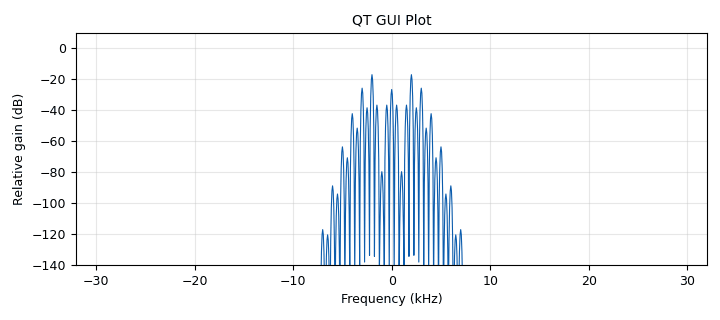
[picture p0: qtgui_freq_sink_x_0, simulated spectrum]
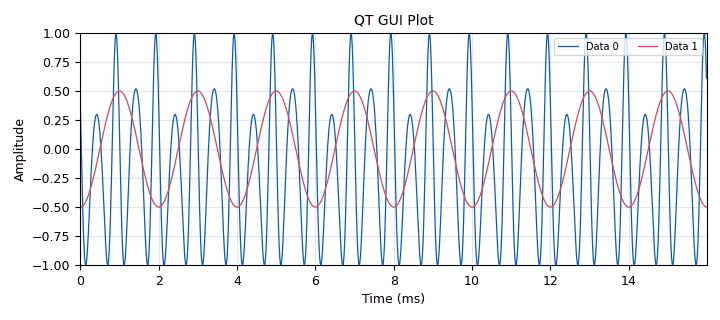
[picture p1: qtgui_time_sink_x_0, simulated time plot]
<?xml version='1.0' encoding='utf-8'?>
<flow_graph>
<block>
<key>options</key>
<param><key>id</key><value>top_block</value></param>
<param><key>generate_options</key><value>qt_gui</value></param>
<param><key>category</key><value>Custom</value></param>
</block>
<block>
<key>variable</key>
<param><key>id</key><value>samp_rate</value></param>
<param><key>value</key><value>64000</value></param>
</block>
<block>
<key>blocks_complex_to_float</key>
<param><key>id</key><value>blocks_complex_to_float_0</value></param>
</block>
<block>
<key>blocks_throttle</key>
<param><key>id</key><value>blocks_throttle_0</value></param>
<param><key>type</key><value>float</value></param>
<param><key>samples_per_second</key><value>samp_rate</value></param>
</block>
<block>
<key>qtgui_freq_sink_x</key>
<param><key>id</key><value>qtgui_freq_sink_x_0</value></param>
<param><key>type</key><value>float</value></param>
<param><key>name</key><value>QT GUI Plot</value></param>
<param><key>fftsize</key><value>1024</value></param>
<param><key>wintype</key><value>firdes.WIN_BLACKMAN_hARRIS</value></param>
<param><key>fc</key><value>0</value></param>
<param><key>bw</key><value>samp_rate</value></param>
</block>
<block>
<key>qtgui_time_sink_x</key>
<param><key>id</key><value>qtgui_time_sink_x_0</value></param>
<param><key>type</key><value>float</value></param>
<param><key>name</key><value>QT GUI Plot</value></param>
<param><key>size</key><value>1024</value></param>
<param><key>srate</key><value>samp_rate</value></param>
<param><key>nconnections</key><value>2</value></param>
</block>
<block>
<key>analog_nbfm_tx</key>
<param><key>id</key><value>analog_nbfm_tx_0</value></param>
<param><key>audio_rate</key><value>samp_rate</value></param>
<param><key>quad_rate</key><value>samp_rate</value></param>
<param><key>tau</key><value>75e-6</value></param>
<param><key>max_dev</key><value>5e3</value></param>
</block>
<block>
<key>variable_qtgui_range</key>
<param><key>id</key><value>A</value></param>
<param><key>label</key><value>amplitude</value></param>
<param><key>value</key><value>0.5</value></param>
<param><key>start</key><value>0</value></param>
<param><key>stop</key><value>1</value></param>
<param><key>step</key><value>0.1</value></param>
<param><key>orient</key><value>Qt.Horizontal</value></param>
</block>
<block>
<key>variable_qtgui_range</key>
<param><key>id</key><value>F</value></param>
<param><key>label</key><value>frequencia</value></param>
<param><key>value</key><value>500</value></param>
<param><key>start</key><value>0</value></param>
<param><key>stop</key><value>1000</value></param>
<param><key>step</key><value>100</value></param>
<param><key>orient</key><value>Qt.Horizontal</value></param>
</block>
<block>
<key>analog_sig_source_x</key>
<param><key>id</key><value>analog_sig_source_x_0</value></param>
<param><key>type</key><value>float</value></param>
<param><key>samp_rate</key><value>samp_rate</value></param>
<param><key>waveform</key><value>analog.GR_COS_WAVE</value></param>
<param><key>freq</key><value>F</value></param>
<param><key>amp</key><value>A</value></param>
<param><key>offset</key><value>0</value></param>
</block>
<connection><source_block_id>analog_nbfm_tx_0</source_block_id><sink_block_id>blocks_complex_to_float_0</sink_block_id><source_key>0</source_key><sink_key>0</sink_key></connection>
<connection><source_block_id>blocks_complex_to_float_0</source_block_id><sink_block_id>qtgui_freq_sink_x_0</sink_block_id><source_key>0</source_key><sink_key>0</sink_key></connection>
<connection><source_block_id>blocks_complex_to_float_0</source_block_id><sink_block_id>qtgui_time_sink_x_0</sink_block_id><source_key>0</source_key><sink_key>0</sink_key></connection>
<connection><source_block_id>analog_sig_source_x_0</source_block_id><sink_block_id>blocks_throttle_0</sink_block_id><source_key>0</source_key><sink_key>0</sink_key></connection>
<connection><source_block_id>blocks_throttle_0</source_block_id><sink_block_id>analog_nbfm_tx_0</sink_block_id><source_key>0</source_key><sink_key>0</sink_key></connection>
<connection><source_block_id>analog_sig_source_x_0</source_block_id><sink_block_id>qtgui_time_sink_x_0</sink_block_id><source_key>0</source_key><sink_key>1</sink_key></connection>
</flow_graph>
